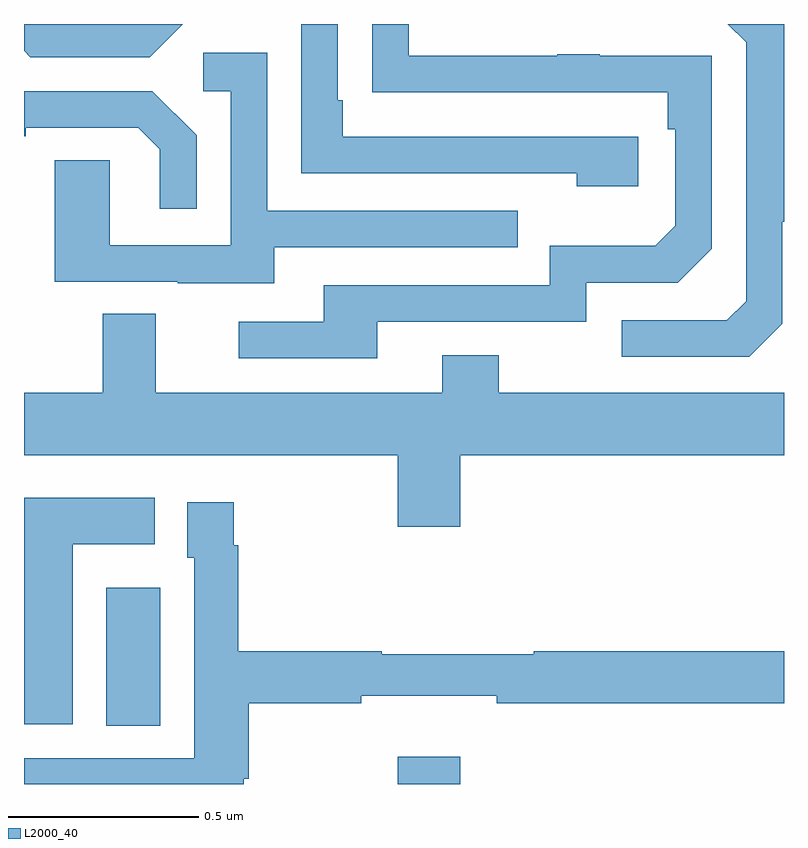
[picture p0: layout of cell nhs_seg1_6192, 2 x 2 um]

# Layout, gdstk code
import gdstk
lib = gdstk.Library(unit=1e-6, precision=1e-09)
def R(c, l, rs):  # rectangles x0, y0, x1, y1
    for r in rs: c.add(gdstk.rectangle(r[:2], r[2:], *l))
def P(c, l, *ps):  # polygons
    for p in ps: c.add(gdstk.Polygon(p, *l))
L2000_40 = (2000, 40)

nhs_seg1_6192 = lib.new_cell('nhs_seg1_6192')
R(nhs_seg1_6192, L2000_40, [(188.984,552.199,189.148,552.271), (188.216,552.352,188.359,552.715)])
P(nhs_seg1_6192, L2000_40, [(188.418,554.199),(188,554.199),(188,554.128),(188.016,554.112),(188.331,554.112)],
  [(189.996,553.41),(189.996,553.679),(190,553.679),(190,554.199),(189.852,554.199),(189.9,554.151),(189.9,553.47),(189.849,553.419),(189.573,553.419),(189.573,553.323),(189.909,553.323)],
  [(188.929,553.416),(189.48,553.416),(189.48,553.518),(189.72,553.518),(189.81,553.608),(189.81,554.115),(189.515,554.115),(189.515,554.12),(189.403,554.12),(189.403,554.115),(189.013,554.115),(189.013,554.199),(188.917,554.199),(188.917,554.02),(189.019,554.02),(189.019,554.019),(189.694,554.019),(189.694,553.922),(189.714,553.922),(189.714,553.668),(189.661,553.615),(189.384,553.615),(189.384,553.512),(188.789,553.512),(188.789,553.416),(188.565,553.416),(188.565,553.32),(188.929,553.32)],
  [(189.616,553.902),(188.839,553.902),(188.839,553.999),(188.826,553.999),(188.826,554.199),(188.73,554.199),(188.73,553.806),(189.455,553.806),(189.455,553.772),(189.616,553.772)],
  [(188.659,553.611),(189.299,553.611),(189.299,553.707),(188.64,553.707),(188.64,554.123),(188.472,554.123),(188.472,554.022),(188.544,554.022),(188.544,553.617),(188.226,553.617),(188.226,553.841),(188.081,553.841),(188.081,553.521),(188.405,553.521),(188.405,553.517),(188.659,553.517)],
  [(188.454,553.906),(188.338,554.022),(188,554.022),(188,553.904),(188.005,553.904),(188.005,553.926),(188.3,553.926),(188.357,553.869),(188.357,553.713),(188.454,553.713)],
  [(189.148,553.064),(190,553.064),(190,553.228),(189.249,553.228),(189.249,553.327),(189.101,553.327),(189.101,553.228),(188.347,553.228),(188.347,553.436),(188.207,553.436),(188.207,553.228),(188,553.228),(188,553.064),(188.984,553.064),(188.984,552.876),(189.148,552.876)],
  [(188.128,552.83),(188.344,552.83),(188.344,552.952),(188,552.952),(188,552.356),(188.128,552.356)],
  [(188.578,552.213),(188.591,552.213),(188.591,552.412),(188.888,552.412),(188.888,552.431),(189.244,552.431),(189.244,552.412),(190,552.412),(190,552.548),(189.341,552.548),(189.341,552.541),(188.941,552.541),(188.941,552.548),(188.564,552.548),(188.564,552.827),(188.552,552.827),(188.552,552.94),(188.429,552.94),(188.429,552.795),(188.448,552.795),(188.448,552.267),(188,552.267),(188,552.199),(188.578,552.199)])

lib.write_gds('nhs_seg1_6192.gds')
